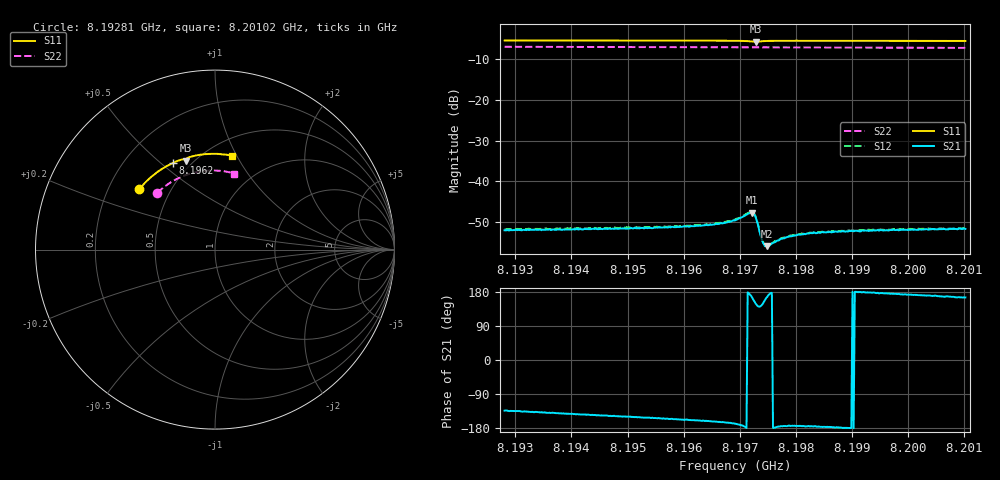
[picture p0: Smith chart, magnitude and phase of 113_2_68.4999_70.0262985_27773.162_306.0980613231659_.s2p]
#  HZ  S  RI  R  50.00
! Rohde & Schwarz Vector Network Analyzer
! Rohde-Schwarz,ZNB20-2Port,1311601062101988,3.16
! Created: UTC 3/20/2024, 4:53:39 PM
! freq[Hz]  re:S11  im:S11  re:S21  im:S21  re:S12  im:S12  re:S22  im:S22
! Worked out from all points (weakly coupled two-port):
!   401 points, 8.19281 GHz to 8.20102 GHz, reference 50 ohm
!   highest |S21| = -47.69 dB at 8.19722 GHz (marker M1); lowest = -56.0 dB at 8.19749 GHz (marker M2)
!   lowest |S11| = -5.7 dB at 8.19728 GHz (marker M3), VSWR 3.17, Z = 22.9 + j31.1 ohm
!   |S11| at or under -10 dB: nowhere
!   |S22| runs from -7.2 to -6.9 dB; largest |S21 - S12| = 0.00021
!   S11 on the Smith chart (normalised r, x): 8.19281 GHz: 0.33, +0.32; 8.1962 GHz: 0.41, +0.55; 8.20102 GHz: 0.66, +0.96
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8.192809e9  -0.4214 0.3371  -0.00173 -0.00181  -0.0018 -0.00182  -0.3205 0.3172
8.194184e9  -0.3536 0.4063  -0.00207 -0.00152  -0.00214 -0.0015  -0.2609 0.3654
8.19556e9  -0.2743 0.4623  -0.00243 -0.00123  -0.0025 -0.00111  -0.1938 0.4027
8.196196e9  -0.234 0.4832  -0.00262 -0.00101  -0.00274 -0.000947  -0.1608 0.416
8.196586e9  -0.2078 0.4943  -0.00287 -0.000898  -0.00292 -0.000822  -0.1399 0.4227
8.196915e9  -0.1839 0.5021  -0.00323 -0.000694  -0.00333 -0.000575  -0.1222 0.4277
8.197161e9  -0.1628 0.5025  -0.004 0.000286  -0.00411 0.000461  -0.1088 0.4307
8.197223e9  -0.159 0.4988  -0.00397 0.00113  -0.004 0.00128  -0.1053 0.4313
8.197264e9  -0.1592 0.4959  -0.00346 0.00171  -0.00345 0.00189  -0.1032 0.4318
8.197284e9  -0.1601 0.4954  -0.00307 0.00188  -0.00303 0.00204  -0.102 0.4319
8.197326e9  -0.1624 0.4965  -0.00227 0.00181  -0.00222 0.00194  -0.0997 0.4323
8.197387e9  -0.1624 0.5016  -0.00162 0.00117  -0.00156 0.00121  -0.0967 0.4332
8.197408e9  -0.1614 0.5035  -0.00151 0.00096  -0.00154 0.00102  -0.0954 0.4334
8.197449e9  -0.159 0.5064  -0.00148 0.000583  -0.00152 0.000676  -0.0931 0.4339
8.19749e9  -0.156 0.5088  -0.00155 0.000368  -0.00158 0.000442  -0.0909 0.4344
8.197551e9  -0.1513 0.5115  -0.00168 8.97e-05  -0.00168 0.000209  -0.0874 0.435
8.197695e9  -0.1402 0.516  -0.00186 -0.000147  -0.00191 -6.31e-05  -0.0796 0.4363
8.197859e9  -0.128 0.5195  -0.00206 -0.000229  -0.00208 -0.000149  -0.0702 0.4376
8.19829e9  -0.0971 0.5261  -0.00229 -0.000206  -0.00231 -7.2e-05  -0.046 0.4401
8.198681e9  -0.0694 0.5302  -0.00238 -9.78e-05  -0.00245 3.98e-06  -0.0241 0.4411
8.199666e9  0.000527 0.5337  -0.00249 0.000195  -0.00252 0.000339  0.0318 0.4388
8.201021e9  0.0958 0.5234  -0.00251 0.000671  -0.00252 0.000814  0.1072 0.4239
